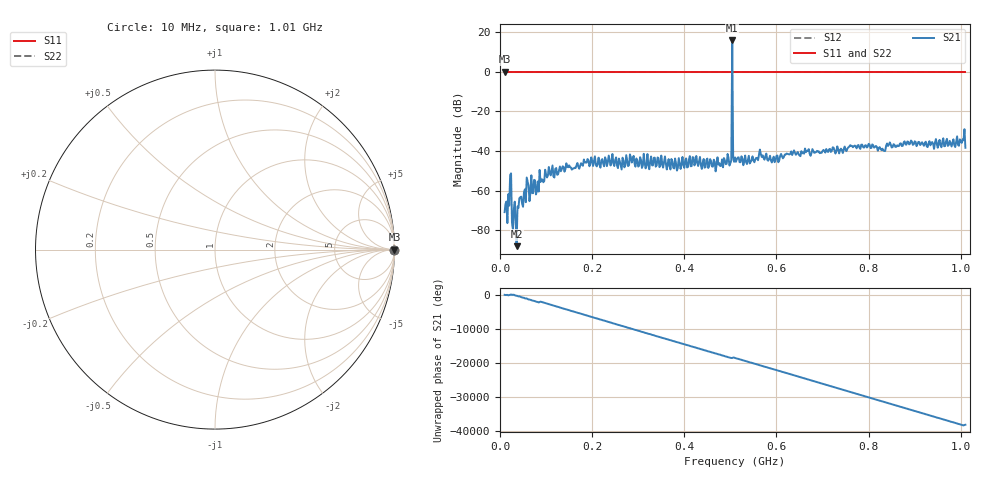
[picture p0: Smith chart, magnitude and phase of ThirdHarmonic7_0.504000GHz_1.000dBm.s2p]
! 8/17/2025 2:29:13 PM
! C:\ANRITSUVNA\TEMP\TEMP.S2P
! CHANNEL.1
! TR.MEASUREMENT
! RAW.DATA
! RF.CORRECTION.OFF
! AVERAGING.OFF
! IF.BANDWIDTH: 5KHZ
! SWEEPTYPE:  FREQ.SWEEP(Linear)
! Reference Plane Port Info
! PORT:  PORT1  PORT2
! DISTANCE:  0  m  0  m
! TIME:  0  s  0  s
! PHASE.OFFSET:  0  deg.  0  deg.
! LOSS:  0  dB  0  dB
! REF.LOSS:  0  dB  0  dB
! REF.FREQ:  0  Hz  0  Hz
! Power Info
! POWER:  -20  dBm  -20  dBm
! EFF.POWER:  -20  dBm  -20  dBm
! SOURCE.ATTEN:  0  dB  0  dB
! TEST.ATTEN:  0  dB  0  dB
# GHZ S RI R 50.0
! FREQ.GHZ  S11RE  S11IM  S21RE  S21IM  S12RE  S12IM  S22RE  S22IM
!; PortSelection: Port_12
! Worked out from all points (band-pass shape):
!   501 points, 10 MHz to 1.01 GHz, reference 50 ohm
!   highest |S21| = 15.71 dB at 504 MHz (marker M1); lowest = -88.0 dB at 36 MHz (marker M2)
!   |S21| within 3 dB of the highest: 503.9006 MHz to 504.1021 MHz (201.5 kHz wide, 0.04 % of centre)
!   lowest |S11| = 0.0 dB at 10 MHz (marker M3)
!   |S11| at or under -10 dB: nowhere
!   |S22| runs from 0.0 to 0.0 dB; largest |S21 - S12| = 7.1
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0.01  1 0  -5.72e-05 0.000281  1 0  1 0
0.022  1 0  0.000426 0.00242  1 0  1 0
0.03  1 0  -0.000173 0.000286  1 0  1 0
0.036  1 0  -3.89e-05 -8.7e-06  1 0  1 0
0.042  1 0  0.000593 0.000245  1 0  1 0
0.052  1 0  0.000605 -0.000674  1 0  1 0
0.058  1 0  -0.000401 0.00211  1 0  1 0
0.08  1 0  -0.000775 -0.000593  1 0  1 0
0.11  1 0  0.00115 0.00213  1 0  1 0
0.178  1 0  -0.00444 -0.000808  1 0  1 0
0.26  1 0  -0.0014 0.00525  1 0  1 0
0.286  1 0  -0.00445 0.00252  1 0  1 0
0.344  1 0  0.00553 -0.00357  1 0  1 0
0.498  1 0  0.00292 -0.00315  1 0  1 0
0.5  1 0  -0.00242 -0.00429  1 0  1 0
0.504  1 0  -6.085 0.4477  1 0  1 0
0.508  1 0  0.00227 -0.00481  1 0  1 0
0.51  1 0  -0.00674 -0.00148  1 0  1 0
0.678  1 0  0.00688 -0.00874  1 0  1 0
0.832  1 0  -0.00582 -0.00853  1 0  1 0
0.844  1 0  -0.00821 0.0117  1 0  1 0
1.01  1 0  0.00209 -0.0118  1 0  1 0
